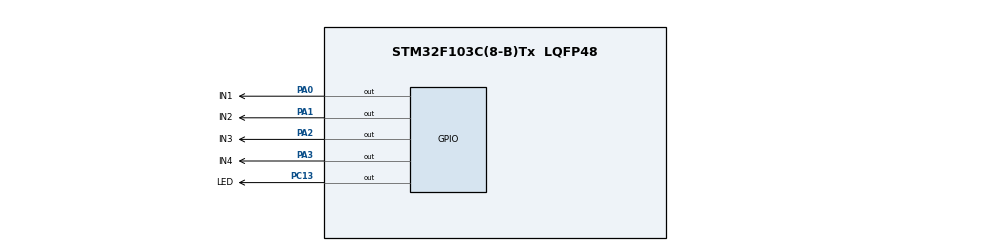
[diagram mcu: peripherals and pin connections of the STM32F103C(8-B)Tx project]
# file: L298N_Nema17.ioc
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Mcu.Family=STM32F1
Mcu.Name=STM32F103C(8-B)Tx
Mcu.Package=LQFP48
NVIC.PriorityGroup=NVIC_PRIORITYGROUP_4
PA0-WKUP.GPIO_Label=IN1
PA0-WKUP.GPIO_Speed=GPIO_SPEED_FREQ_HIGH
PA0-WKUP.Signal=GPIO_Output
PA1.GPIO_Label=IN2
PA1.GPIO_Speed=GPIO_SPEED_FREQ_HIGH
PA1.Signal=GPIO_Output
PA13.Mode=Serial_Wire
PA13.Signal=SYS_JTMS-SWDIO
PA14.Mode=Serial_Wire
PA14.Signal=SYS_JTCK-SWCLK
PA2.GPIO_Label=IN3
PA2.GPIO_Speed=GPIO_SPEED_FREQ_HIGH
PA2.Signal=GPIO_Output
PA3.GPIO_Label=IN4
PA3.GPIO_Speed=GPIO_SPEED_FREQ_HIGH
PA3.Signal=GPIO_Output
PC13-TAMPER-RTC.GPIO_Label=LED
PC13-TAMPER-RTC.Signal=GPIO_Output
PD0-OSC_IN.Mode=HSE-External-Oscillator
PD0-OSC_IN.Signal=RCC_OSC_IN
PD1-OSC_OUT.Mode=HSE-External-Oscillator
PD1-OSC_OUT.Signal=RCC_OSC_OUT
ProjectManager.HeapSize=0x200
ProjectManager.StackSize=0x400
ProjectManager.TargetToolchain=STM32CubeIDE
RCC.APB1Freq_Value=8000000
RCC.APB2Freq_Value=8000000
board=custom

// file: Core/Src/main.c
/* USER CODE BEGIN Header */
/**
  ******************************************************************************
  * @file           : main.c
  * @brief          : Main program body
  ******************************************************************************
  * @attention
  *
  * <h2><center>&copy; Copyright (c) 2021 STMicroelectronics.
  * All rights reserved.</center></h2>
  *
  * This software component is licensed by ST under BSD 3-Clause license,
  * the "License"; You may not use this file except in compliance with the
  * License. You may obtain a copy of the License at:
  *                        opensource.org/licenses/BSD-3-Clause
  *
  ******************************************************************************
  */
/* USER CODE END Header */
#include "main.h"

/* USER CODE BEGIN Includes */
#define stepper_step 200
/* USER CODE END Includes */

void SystemClock_Config(void);
static void MX_GPIO_Init(void);

/* USER CODE BEGIN 0 */

void wave_step_drive(uint8_t step)
{
	switch (step) {
	case 0:
		HAL_GPIO_WritePin(GPIOA, IN1_Pin, GPIO_PIN_SET);
		HAL_GPIO_WritePin(GPIOA, IN2_Pin, GPIO_PIN_RESET);
		HAL_GPIO_WritePin(GPIOA, IN3_Pin, GPIO_PIN_RESET);
		HAL_GPIO_WritePin(GPIOA, IN4_Pin, GPIO_PIN_RESET);
		break;
	case 1:
		HAL_GPIO_WritePin(GPIOA, IN1_Pin, GPIO_PIN_RESET);
		HAL_GPIO_WritePin(GPIOA, IN2_Pin, GPIO_PIN_RESET);
		HAL_GPIO_WritePin(GPIOA, IN3_Pin, GPIO_PIN_SET);
		HAL_GPIO_WritePin(GPIOA, IN4_Pin, GPIO_PIN_RESET);
		break;
	case 2:
		HAL_GPIO_WritePin(GPIOA, IN1_Pin, GPIO_PIN_RESET);
		HAL_GPIO_WritePin(GPIOA, IN2_Pin, GPIO_PIN_SET);
		HAL_GPIO_WritePin(GPIOA, IN3_Pin, GPIO_PIN_RESET);
		HAL_GPIO_WritePin(GPIOA, IN4_Pin, GPIO_PIN_RESET);
		break;
	case 3:
		HAL_GPIO_WritePin(GPIOA, IN1_Pin, GPIO_PIN_RESET);
		HAL_GPIO_WritePin(GPIOA, IN2_Pin, GPIO_PIN_RESET);
		HAL_GPIO_WritePin(GPIOA, IN3_Pin, GPIO_PIN_RESET);
		HAL_GPIO_WritePin(GPIOA, IN4_Pin, GPIO_PIN_SET);
		break;

	}
}

void wave_second_step_drive(uint8_t step)
{
	switch (step) {
	case 0:
		HAL_GPIO_WritePin(GPIOA, IN1_Pin, GPIO_PIN_SET);
		HAL_GPIO_WritePin(GPIOA, IN2_Pin, GPIO_PIN_RESET);
		HAL_GPIO_WritePin(GPIOA, IN3_Pin, GPIO_PIN_SET);
		HAL_GPIO_WritePin(GPIOA, IN4_Pin, GPIO_PIN_RESET);
		break;
	case 1:
		HAL_GPIO_WritePin(GPIOA, IN1_Pin, GPIO_PIN_RESET);
		HAL_GPIO_WritePin(GPIOA, IN2_Pin, GPIO_PIN_SET);
		HAL_GPIO_WritePin(GPIOA, IN3_Pin, GPIO_PIN_SET);
		HAL_GPIO_WritePin(GPIOA, IN4_Pin, GPIO_PIN_RESET);
		break;
	case 2:
		HAL_GPIO_WritePin(GPIOA, IN1_Pin, GPIO_PIN_RESET);
		HAL_GPIO_WritePin(GPIOA, IN2_Pin, GPIO_PIN_SET);
		HAL_GPIO_WritePin(GPIOA, IN3_Pin, GPIO_PIN_RESET);
		HAL_GPIO_WritePin(GPIOA, IN4_Pin, GPIO_PIN_SET);
		break;
	case 3:
		HAL_GPIO_WritePin(GPIOA, IN1_Pin, GPIO_PIN_SET);
		HAL_GPIO_WritePin(GPIOA, IN2_Pin, GPIO_PIN_RESET);
		HAL_GPIO_WritePin(GPIOA, IN3_Pin, GPIO_PIN_RESET);
		HAL_GPIO_WritePin(GPIOA, IN4_Pin, GPIO_PIN_SET);
		break;

	}
}

void full_step_drive(uint8_t step)
{
	switch (step) {
	case 0:
		HAL_GPIO_WritePin(GPIOA, IN1_Pin, GPIO_PIN_SET);   //A
		HAL_GPIO_WritePin(GPIOA, IN2_Pin, GPIO_PIN_RESET); //A'
		HAL_GPIO_WritePin(GPIOA, IN3_Pin, GPIO_PIN_SET);   //B
		HAL_GPIO_WritePin(GPIOA, IN4_Pin, GPIO_PIN_RESET); //B'
		break;
	case 1:
		HAL_GPIO_WritePin(GPIOA, IN1_Pin, GPIO_PIN_RESET); //A
		HAL_GPIO_WritePin(GPIOA, IN2_Pin, GPIO_PIN_SET); //A'
		HAL_GPIO_WritePin(GPIOA, IN3_Pin, GPIO_PIN_SET); //B
		HAL_GPIO_WritePin(GPIOA, IN4_Pin, GPIO_PIN_RESET); //B'
		break;
	case 2:
		HAL_GPIO_WritePin(GPIOA, IN1_Pin, GPIO_PIN_RESET); //A
		HAL_GPIO_WritePin(GPIOA, IN2_Pin, GPIO_PIN_SET); //A'
		HAL_GPIO_WritePin(GPIOA, IN3_Pin, GPIO_PIN_RESET); //B
		HAL_GPIO_WritePin(GPIOA, IN4_Pin, GPIO_PIN_SET); //B'
		break;
	case 3:
		HAL_GPIO_WritePin(GPIOA, IN1_Pin, GPIO_PIN_SET); //A
		HAL_GPIO_WritePin(GPIOA, IN2_Pin, GPIO_PIN_RESET); //A'
		HAL_GPIO_WritePin(GPIOA, IN3_Pin, GPIO_PIN_RESET); //B
		HAL_GPIO_WritePin(GPIOA, IN4_Pin, GPIO_PIN_SET); //B'
		break;
	}
}

void half_step_drive(uint8_t step) {
	switch (step) {
	case 0:
		HAL_GPIO_WritePin(GPIOA, IN1_Pin, GPIO_PIN_SET); //A
		HAL_GPIO_WritePin(GPIOA, IN3_Pin, GPIO_PIN_RESET); //B
		HAL_GPIO_WritePin(GPIOA, IN2_Pin, GPIO_PIN_RESET); //A'
		HAL_GPIO_WritePin(GPIOA, IN4_Pin, GPIO_PIN_RESET); //B'
		break;
	case 1:
		HAL_GPIO_WritePin(GPIOA, IN1_Pin, GPIO_PIN_SET); //A
		HAL_GPIO_WritePin(GPIOA, IN3_Pin, GPIO_PIN_SET); //B
		HAL_GPIO_WritePin(GPIOA, IN2_Pin, GPIO_PIN_RESET); //A'
		HAL_GPIO_WritePin(GPIOA, IN4_Pin, GPIO_PIN_RESET); //B'
		break;
	case 2:
		HAL_GPIO_WritePin(GPIOA, IN1_Pin, GPIO_PIN_RESET); //A
		HAL_GPIO_WritePin(GPIOA, IN3_Pin, GPIO_PIN_SET); //B
		HAL_GPIO_WritePin(GPIOA, IN2_Pin, GPIO_PIN_RESET); //A'
		HAL_GPIO_WritePin(GPIOA, IN4_Pin, GPIO_PIN_RESET); //B'
		break;
	case 3:
		HAL_GPIO_WritePin(GPIOA, IN1_Pin, GPIO_PIN_RESET); //A
		HAL_GPIO_WritePin(GPIOA, IN3_Pin, GPIO_PIN_SET); //B
		HAL_GPIO_WritePin(GPIOA, IN2_Pin, GPIO_PIN_SET); //A'
		HAL_GPIO_WritePin(GPIOA, IN4_Pin, GPIO_PIN_RESET); //B'
		break;
	case 4:
		HAL_GPIO_WritePin(GPIOA, IN1_Pin, GPIO_PIN_RESET); //A
		HAL_GPIO_WritePin(GPIOA, IN3_Pin, GPIO_PIN_RESET); //B
		HAL_GPIO_WritePin(GPIOA, IN2_Pin, GPIO_PIN_SET); //A'
		HAL_GPIO_WritePin(GPIOA, IN4_Pin, GPIO_PIN_RESET); //B'
		break;
	case 5:
		HAL_GPIO_WritePin(GPIOA, IN1_Pin, GPIO_PIN_RESET); //A
		HAL_GPIO_WritePin(GPIOA, IN3_Pin, GPIO_PIN_RESET); //B
		HAL_GPIO_WritePin(GPIOA, IN2_Pin, GPIO_PIN_SET); //A'
		HAL_GPIO_WritePin(GPIOA, IN4_Pin, GPIO_PIN_SET); //B'
		break;
	case 6:
		HAL_GPIO_WritePin(GPIOA, IN1_Pin, GPIO_PIN_RESET); //A
		HAL_GPIO_WritePin(GPIOA, IN3_Pin, GPIO_PIN_RESET); //B
		HAL_GPIO_WritePin(GPIOA, IN2_Pin, GPIO_PIN_RESET); //A'
		HAL_GPIO_WritePin(GPIOA, IN4_Pin, GPIO_PIN_SET); //B'
		break;
	case 7:
		HAL_GPIO_WritePin(GPIOA, IN1_Pin, GPIO_PIN_SET); //A
		HAL_GPIO_WritePin(GPIOA, IN3_Pin, GPIO_PIN_RESET); //B
		HAL_GPIO_WritePin(GPIOA, IN2_Pin, GPIO_PIN_RESET); //A'
		HAL_GPIO_WritePin(GPIOA, IN4_Pin, GPIO_PIN_SET); //B'
		break;
	}
}

void set_rpm(int rpm)
{
HAL_Delay(60L * 1000L  /stepper_step/rpm);

}

void stepper_drive(float angle, uint8_t direction, uint8_t drv_type,int rpm) {
	float anglepersquence = 7.2;
	int numberofsequence = (int) angle / anglepersquence;

	for (int seq = 0; seq < numberofsequence; seq++) {

		if (direction == 0 && drv_type == 0) {
			for (int j = 0; j <= 3; j++) {
				wave_step_drive(j);
				set_rpm(rpm);

			}

		} else if (direction == 1 && drv_type == 0) {
			for (int j = 3; j >= 0; j--) {
				wave_step_drive(j);
				set_rpm(rpm);

			}
		} else if (direction == 0 && drv_type == 1) {
			for (int j = 0; j <= 3; j++) {
				full_step_drive(j);
				set_rpm(rpm);

			}
		} else if (direction == 1 && drv_type == 1) {
			for (int j = 3; j >= 0; j--) {
				full_step_drive(j);
				set_rpm(rpm);

			}
		} else if (direction == 0 && drv_type == 2) {
			for (int j = 0; j <= 7; j++) {
				half_step_drive(j);
				set_rpm(rpm);

			}
		}

		else if (direction == 1 && drv_type == 2) {
			for (int j = 7; j >= 0; j--) {
				half_step_drive(j);
				set_rpm(rpm);

			}
		}
		else if (direction == 0 && drv_type == 3) {
			for (int j = 3; j >= 0; j--) {
				wave_second_step_drive(j);
				set_rpm(rpm);

			}
		}
		else if (direction == 1 && drv_type == 3) {
			for (int j = 3; j >= 0; j--) {
				wave_second_step_drive(j);
				set_rpm(rpm);
			}
		}

	}

}

/* USER CODE END 0 */

int main(void)
{

  /* MCU Configuration--------------------------------------------------------*/

  /* Reset of all peripherals, Initializes the Flash interface and the Systick. */
  HAL_Init();

  /* Configure the system clock */
  SystemClock_Config();

  /* Initialize all configured peripherals */
  MX_GPIO_Init();

  /* Infinite loop */
  /* USER CODE BEGIN WHILE */
  while (1)
  {
	  // wave drive : 0 full step drive : 1 half step drive : 2 wave second drive  : 3//
	  //stepper_drive(angle, direction, drv_type, rpm)
		stepper_drive(180, 0, 0, 60);
		HAL_Delay(100);
		stepper_drive(180, 1, 0, 60);
		HAL_Delay(100);
		stepper_drive(180, 0, 1, 60);
		HAL_Delay(100);
		stepper_drive(180, 1, 1, 60);
		HAL_Delay(100);
		stepper_drive(180, 0, 2, 60);
		HAL_Delay(100);
		stepper_drive(180, 1, 2, 60);
		HAL_Delay(100);
		stepper_drive(180, 0, 3, 60);
		HAL_Delay(100);
		stepper_drive(180, 1, 3, 60);
		HAL_Delay(100);
		HAL_GPIO_TogglePin(GPIOC, LED_Pin);

    /* USER CODE END WHILE */

  }
}

void SystemClock_Config(void)
{
  RCC_OscInitTypeDef RCC_OscInitStruct = {0};
  RCC_ClkInitTypeDef RCC_ClkInitStruct = {0};

  /** Initializes the RCC Oscillators according to the specified parameters
  * in the RCC_OscInitTypeDef structure.
  */
  RCC_OscInitStruct.OscillatorType = RCC_OSCILLATORTYPE_HSI;
  RCC_OscInitStruct.HSIState = RCC_HSI_ON;
  RCC_OscInitStruct.HSICalibrationValue = RCC_HSICALIBRATION_DEFAULT;
  RCC_OscInitStruct.PLL.PLLState = RCC_PLL_NONE;
  if (HAL_RCC_OscConfig(&RCC_OscInitStruct) != HAL_OK)
  {
    Error_Handler();
  }
  /** Initializes the CPU, AHB and APB buses clocks
  */
  RCC_ClkInitStruct.ClockType = RCC_CLOCKTYPE_HCLK|RCC_CLOCKTYPE_SYSCLK
                              |RCC_CLOCKTYPE_PCLK1|RCC_CLOCKTYPE_PCLK2;
  RCC_ClkInitStruct.SYSCLKSource = RCC_SYSCLKSOURCE_HSI;
  RCC_ClkInitStruct.AHBCLKDivider = RCC_SYSCLK_DIV1;
  RCC_ClkInitStruct.APB1CLKDivider = RCC_HCLK_DIV1;
  RCC_ClkInitStruct.APB2CLKDivider = RCC_HCLK_DIV1;

  if (HAL_RCC_ClockConfig(&RCC_ClkInitStruct, FLASH_LATENCY_0) != HAL_OK)
  {
    Error_Handler();
  }
}

static void MX_GPIO_Init(void)
{
  GPIO_InitTypeDef GPIO_InitStruct = {0};

  /* GPIO Ports Clock Enable */
  __HAL_RCC_GPIOC_CLK_ENABLE();
  __HAL_RCC_GPIOD_CLK_ENABLE();
  __HAL_RCC_GPIOA_CLK_ENABLE();

  /*Configure GPIO pin Output Level */
  HAL_GPIO_WritePin(LED_GPIO_Port, LED_Pin, GPIO_PIN_RESET);

  /*Configure GPIO pin Output Level */
  HAL_GPIO_WritePin(GPIOA, IN1_Pin|IN2_Pin|IN3_Pin|IN4_Pin, GPIO_PIN_RESET);

  /*Configure GPIO pin : LED_Pin */
  GPIO_InitStruct.Pin = LED_Pin;
  GPIO_InitStruct.Mode = GPIO_MODE_OUTPUT_PP;
  GPIO_InitStruct.Pull = GPIO_NOPULL;
  GPIO_InitStruct.Speed = GPIO_SPEED_FREQ_LOW;
  HAL_GPIO_Init(LED_GPIO_Port, &GPIO_InitStruct);

  /*Configure GPIO pins : IN1_Pin IN2_Pin IN3_Pin IN4_Pin */
  GPIO_InitStruct.Pin = IN1_Pin|IN2_Pin|IN3_Pin|IN4_Pin;
  GPIO_InitStruct.Mode = GPIO_MODE_OUTPUT_PP;
  GPIO_InitStruct.Pull = GPIO_NOPULL;
  GPIO_InitStruct.Speed = GPIO_SPEED_FREQ_HIGH;
  HAL_GPIO_Init(GPIOA, &GPIO_InitStruct);

}

void Error_Handler(void)
{
  __disable_irq();
  while (1)
  {
  }
}

/************************ (C) COPYRIGHT STMicroelectronics *****END OF FILE****/
